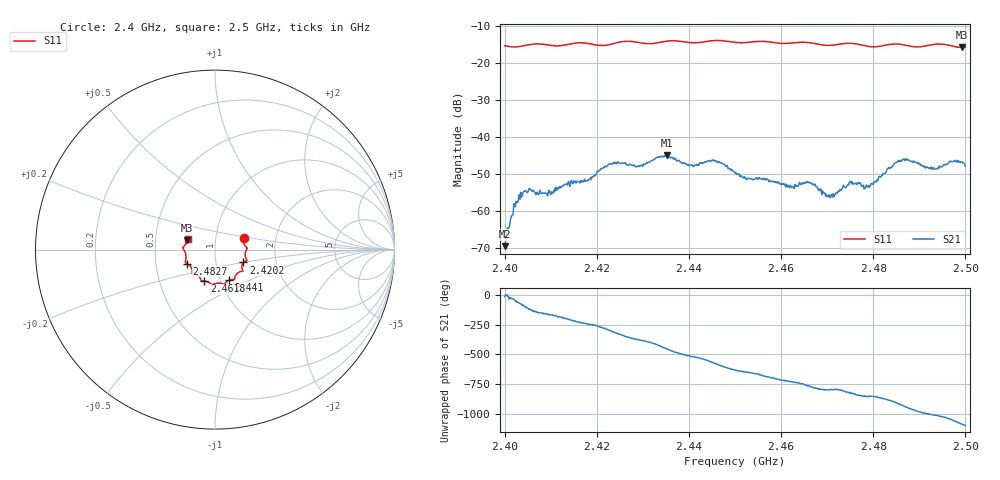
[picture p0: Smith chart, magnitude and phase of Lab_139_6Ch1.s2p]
# Hz S RI R 50
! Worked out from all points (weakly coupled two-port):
!   601 points, 2.4 GHz to 2.5 GHz, reference 50 ohm
!   highest |S21| = -45.00 dB at 2.4352 GHz (marker M1); lowest = -69.6 dB at 2.4 GHz (marker M2)
!   lowest |S11| = -15.8 dB at 2.4993 GHz (marker M3), VSWR 1.39, Z = 36.5 + j3.83 ohm
!   |S11| at or under -10 dB: start of sweep to end of sweep
!   S12 and S22 are empty: the file has one direction only
!   S11 on the Smith chart (normalised r, x): 2.4 GHz: 1.36, +0.18; 2.4202 GHz: 1.36, -0.20; 2.441 GHz: 1.10, -0.39; 2.4618 GHz: 0.84, -0.30; 2.4827 GHz: 0.72, -0.12; 2.5 GHz: 0.73, +0.09
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2.4e9  0.1588 0.063  0.000325 -6.91e-05  0 0  0 0
2.402e9  0.1595 0.0393  0.00105 -0.000675  0 0  0 0
2.404e9  0.1688 0.0195  0.000244 -0.00175  0 0  0 0
2.410333e9  0.1712 -0.009  -0.00165 -0.000454  0 0  0 0
2.416667e9  0.1773 -0.0611  -0.00144 0.00198  0 0  0 0
2.420167e9  0.1586 -0.0715  -0.000604 0.0034  0 0  0 0
2.433333e9  0.1116 -0.1507  0.00243 -0.00469  0 0  0 0
2.435167e9  0.1093 -0.1638  -0.000157 -0.00562  0 0  0 0
2.441e9  0.0787 -0.1697  -0.00371 -0.00131  0 0  0 0
2.4455e9  0.0509 -0.1942  -0.00402 0.00271  0 0  0 0
2.45e9  0.0285 -0.1874  0.000155 0.00326  0 0  0 0
2.461833e9  -0.0591 -0.1754  0.00203 -0.000285  0 0  0 0
2.466667e9  -0.0787 -0.1684  0.00127 -0.00194  0 0  0 0
2.471167e9  -0.1059 -0.1376  0.000273 -0.00151  0 0  0 0
2.475e9  -0.1272 -0.1334  -0.000477 -0.00241  0 0  0 0
2.478833e9  -0.129 -0.1071  -0.00148 -0.00149  0 0  0 0
2.482667e9  -0.1561 -0.0775  -0.00305 -0.0012  0 0  0 0
2.483333e9  -0.1604 -0.0753  -0.00371 -0.000917  0 0  0 0
2.486833e9  -0.1637 -0.061  -0.00368 0.00305  0 0  0 0
2.493333e9  -0.1786 0.00609  0.00153 0.00339  0 0  0 0
2.499333e9  -0.1542 0.0511  0.00442 -0.000966  0 0  0 0
2.5e9  -0.1523 0.0605  0.00375 -0.00142  0 0  0 0
